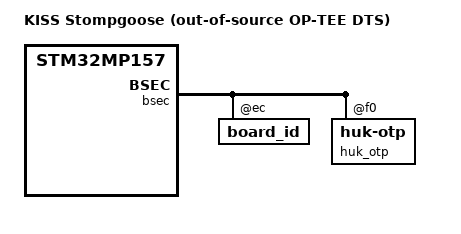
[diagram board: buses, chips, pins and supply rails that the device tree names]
// SPDX-License-Identifier: (GPL-2.0+ OR BSD-3-Clause)
/*
 * Out-of-source OP-TEE device tree for the KISS Stompgoose board.
 *
 * Hardware-equivalent to the upstream STM32MP157A-DK1; the only
 * change versus stm32mp157a-dk1.dts is the model string, which lets
 * us verify the out-of-source DTS was actually consumed by the OP-TEE
 * build (look for it in the embedded DTB inside tee.elf / tee-pager).
 */

/dts-v1/;

#include "stm32mp157.dtsi"
#include "stm32mp15-pinctrl.dtsi"
#include "stm32mp15xxac-pinctrl.dtsi"
#include "stm32mp15xx-dkx.dtsi"

/ {
	model = "KISS Stompgoose (out-of-source OP-TEE DTS)";
	compatible = "st,stm32mp157a-dk1", "st,stm32mp157";

	aliases {
		ethernet0 = &ethernet0;
		serial0 = &uart4;
		serial1 = &usart3;
		serial2 = &uart7;
	};

	chosen {
		stdout-path = "serial0:115200n8";
	};
};

&bsec {
	board_id: board_id@ec {
		reg = <0xec 0x4>;
		st,non-secure-otp;
	};
	huk_otp: huk-otp@f0 {
		reg = <0xf0 0x10>;
	};
};
